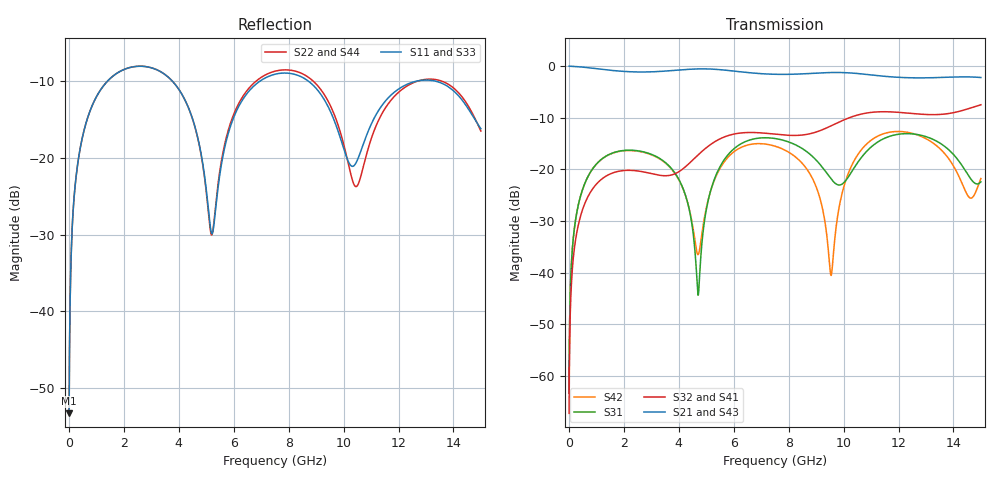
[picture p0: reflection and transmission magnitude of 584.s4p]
! Created with skrf 1.8.0 (http://scikit-rf.org).
# GHz S RI R 50.0
!freq ReS11 ImS11 ReS12 ImS12 ReS13 ImS13
! ReS14 ImS14
! ReS21 ImS21 ReS22 ImS22 ReS23 ImS23
! ReS24 ImS24
! ReS31 ImS31 ReS32 ImS32 ReS33 ImS33
! ReS34 ImS34
! ReS41 ImS41 ReS42 ImS42 ReS43 ImS43
! ReS44 ImS44
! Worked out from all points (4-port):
!   2499 points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, 5 MHz to 15 GHz, reference 50 ohm
!   strongest paths, dB at 5 MHz, 3.476 GHz, 7.19 GHz, 11.1 GHz, 15 GHz:
!     S21: 0.0, -1.0, -1.5, -1.8, -2.2
!     S43: 0.0, -1.0, -1.5, -1.8, -2.2
!     S32: -67.2, -21.2, -13.0, -8.9, -7.5
!     S41: -67.2, -21.3, -13.0, -8.9, -7.5
!     S31: -63.3, -18.5, -13.9, -15.3, -22.4
!     S42: -63.3, -18.6, -15.1, -14.0, -21.8
!   lowest |S11| = -53.3 dB at 5 MHz (marker M1), VSWR 1.00, Z = 50.2 + j0.132 ohm
!   |S11| at or under -10 dB: 3.758 GHz to 6.965 GHz (3.207 GHz wide, 59.8 % of centre); 8.708 GHz to 12.69 GHz (3.981 GHz wide, 37.2 % of centre); 13.32 GHz to end of sweep (the widest 3 of 4)
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0.005  0.00173 0.00131  0.9982 -0.00336  8.68e-05 0.000678  -8.43e-05 -0.000426
       0.9982 -0.00336  0.00173 0.00131  -8.43e-05 -0.000426  8.67e-05 0.000678
       8.68e-05 0.000678  -8.43e-05 -0.000426  0.00173 0.00131  0.9982 -0.00336
       -8.43e-05 -0.000426  8.67e-05 0.000678  0.9982 -0.00336  0.00173 0.00131
1.519383  0.2799 0.1754  0.5284 -0.7417  0.1302 0.056  -0.0906 -0.00299
          0.5284 -0.7417  0.2805 0.1749  -0.0907 -0.0029  0.1282 0.0587
          0.1302 0.056  -0.0907 -0.0029  0.2798 0.1755  0.5283 -0.7417
          -0.0906 -0.00299  0.1282 0.0587  0.5283 -0.7417  0.2806 0.1749
4.701959  0.0658 -0.1148  -0.8704 -0.3519  -0.00597 -0.00096  -0.0485 0.1292
          -0.8704 -0.3519  0.0641 -0.1142  -0.0473 0.1296  -0.0146 -0.00301
          -0.00597 -0.00096  -0.0473 0.1296  0.0665 -0.1148  -0.8704 -0.3517
          -0.0485 0.1292  -0.0146 -0.00301  -0.8704 -0.3517  0.0636 -0.1147
8.003335  0.3546 -0.0167  -0.0217 0.8319  0.1436 -0.1153  0.2054 -0.0564
          -0.0217 0.8319  0.3708 -0.0364  0.2053 -0.0592  0.1391 -0.0457
          0.1436 -0.1153  0.2053 -0.0592  0.3566 -0.018  -0.0211 0.8308
          0.2054 -0.0564  0.1391 -0.0457  -0.0211 0.8308  0.3738 -0.0355
9.541476  0.1541 -0.122  0.6622 0.5588  -0.0569 -0.0577  0.1657 -0.2048
          0.6622 0.5588  0.147 -0.1558  0.1626 -0.2075  -0.00844 -0.00416
          -0.0569 -0.0577  0.1626 -0.2075  0.156 -0.1265  0.6612 0.5584
          0.1657 -0.2048  -0.00844 -0.00416  0.6612 0.5584  0.1515 -0.1582
10.76699  0.1131 0.0635  0.8321 -0.0564  0.0276 0.1396  -0.0423 -0.3452
          0.8321 -0.0564  0.0825 0.0461  -0.0476 -0.3452  0.0725 0.152
          0.0276 0.1396  -0.0476 -0.3452  0.1106 0.0577  0.8324 -0.0563
          -0.0423 -0.3452  0.0725 0.152  0.8324 -0.0563  0.0848 0.0418
15  0.1475 -0.0463  -0.6297 -0.4522  -0.0732 0.0191  -0.2479 0.3416
    -0.6297 -0.4522  0.1311 -0.0711  -0.24 0.3473  -0.065 0.0491
    -0.0732 0.0191  -0.24 0.3473  0.149 -0.0517  -0.6306 -0.4499
    -0.2479 0.3416  -0.065 0.0491  -0.6306 -0.4499  0.1341 -0.0741
